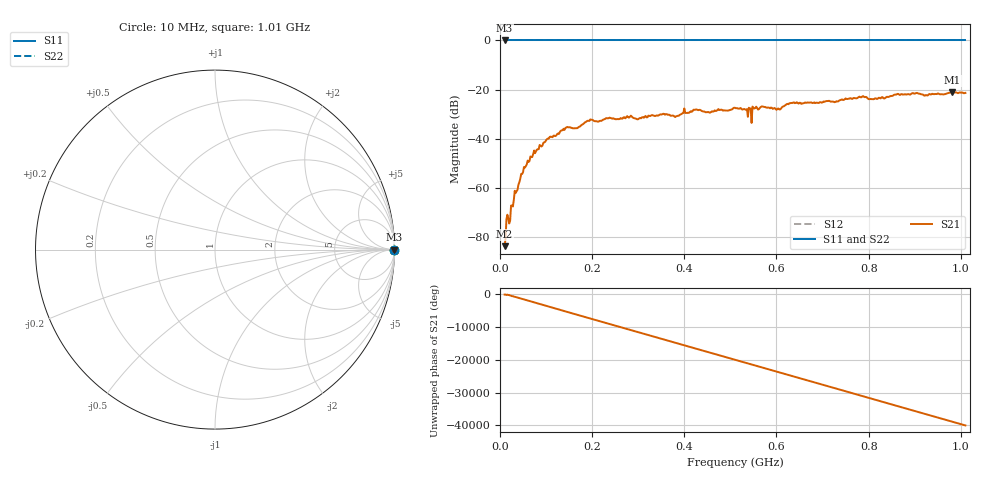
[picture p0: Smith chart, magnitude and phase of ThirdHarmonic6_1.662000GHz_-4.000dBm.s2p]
! 8/16/2025 7:54:46 PM
! C:\ANRITSUVNA\TEMP\TEMP.S2P
! CHANNEL.1
! TR.MEASUREMENT
! RAW.DATA
! RF.CORRECTION.OFF
! AVERAGING.OFF
! IF.BANDWIDTH: 5KHZ
! SWEEPTYPE:  FREQ.SWEEP(Linear)
! Reference Plane Port Info
! PORT:  PORT1  PORT2
! DISTANCE:  0  m  0  m
! TIME:  0  s  0  s
! PHASE.OFFSET:  0  deg.  0  deg.
! LOSS:  0  dB  0  dB
! REF.LOSS:  0  dB  0  dB
! REF.FREQ:  0  Hz  0  Hz
! Power Info
! POWER:  -20  dBm  -20  dBm
! EFF.POWER:  -20  dBm  -20  dBm
! SOURCE.ATTEN:  0  dB  0  dB
! TEST.ATTEN:  0  dB  0  dB
# GHZ S RI R 50.0
! FREQ.GHZ  S11RE  S11IM  S21RE  S21IM  S12RE  S12IM  S22RE  S22IM
!; PortSelection: Port_12
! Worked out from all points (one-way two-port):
!   501 points, 10 MHz to 1.01 GHz, reference 50 ohm
!   highest |S21| = -20.97 dB at 982 MHz (marker M1); lowest = -83.5 dB at 10 MHz (marker M2)
!   lowest |S11| = 0.0 dB at 10 MHz (marker M3)
!   |S11| at or under -10 dB: nowhere
!   |S22| runs from 0.0 to 0.0 dB; largest |S21 - S12| = 1.1
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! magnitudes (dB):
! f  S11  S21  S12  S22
! 10 MHz  0.0  -83.5  0.0  0.0
! 24 MHz  0.0  -67.1  0.0  0.0
! 28 MHz  0.0  -67.4  0.0  0.0
! 48 MHz  0.0  -54.2  0.0  0.0
! 70 MHz  0.0  -47.3  0.0  0.0
! 106 MHz  0.0  -39.8  0.0  0.0
! 146 MHz  0.0  -35.1  0.0  0.0
! 178 MHz  0.0  -34.2  0.0  0.0
! 198 MHz  0.0  -32.1  0.0  0.0
! 344 MHz  0.0  -30.5  0.0  0.0
! 382 MHz  0.0  -30.8  0.0  0.0
! 424 MHz  0.0  -28.1  0.0  0.0
! 454 MHz  0.0  -29.2  0.0  0.0
! 510 MHz  0.0  -27.3  0.0  0.0
! 542 MHz  0.0  -27.6  0.0  0.0
! 552 MHz  0.0  -27.6  0.0  0.0
! 604 MHz  0.0  -27.6  0.0  0.0
! 632 MHz  0.0  -25.4  0.0  0.0
! 678 MHz  0.0  -25.4  0.0  0.0
! 844 MHz  0.0  -22.9  0.0  0.0
! 982 MHz  0.0  -21.0  0.0  0.0
! 1.01 GHz  0.0  -21.3  0.0  0.0
